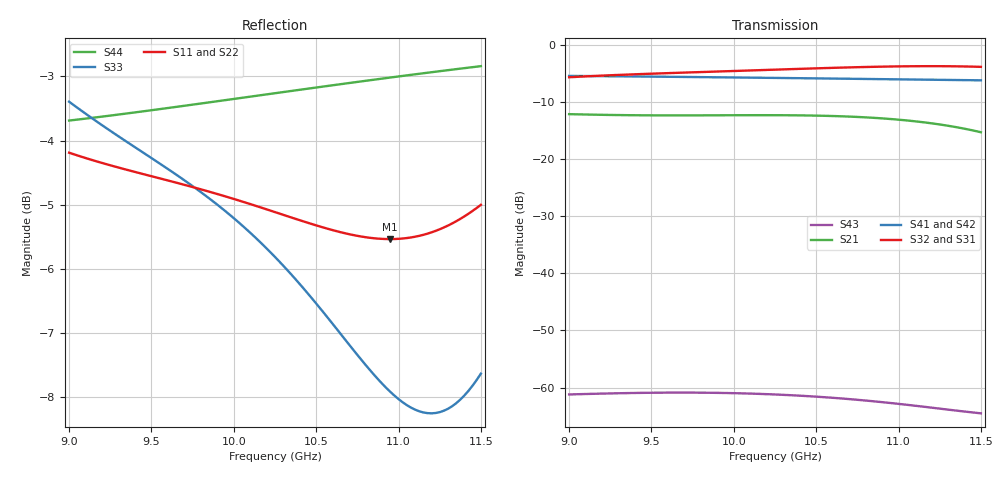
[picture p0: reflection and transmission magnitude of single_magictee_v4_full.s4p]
! Generated from PyAEDT SolutionData; AEDT ExportNetworkData workaround
# GHz S MA R 50
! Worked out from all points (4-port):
!   101 points, 9 GHz to 11.5 GHz, reference 50 ohm
!   strongest paths, dB at 9 GHz, 9.625 GHz, 10.25 GHz, 10.88 GHz, 11.5 GHz:
!     S32: -5.7, -4.9, -4.3, -3.8, -3.8
!     S31: -5.7, -4.9, -4.3, -3.8, -3.8
!     S41: -5.4, -5.6, -5.8, -6.0, -6.2
!     S42: -5.5, -5.6, -5.8, -6.0, -6.2
!     S21: -12.1, -12.3, -12.3, -12.8, -15.3
!     S43: -61.2, -60.9, -61.2, -62.5, -64.5
!   lowest |S11| = -5.5 dB at 10.95 GHz (marker M1), VSWR 3.24, Z = 15.4 + j0.0502 ohm
!   |S11| at or under -10 dB: nowhere
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9  0.6175 31.5  0.2479 -55.9  0.5197 -1.0  0.5359 38.2
   0.2479 -55.9  0.6176 31.2  0.5217 -1.0  0.5338 -141.8
   0.5197 -1.0  0.5217 -1.0  0.6766 168.2  0.0008703 93.5
   0.5359 38.2  0.5338 -141.8  0.0008703 93.5  0.6541 -157.1
9.375  0.5977 -12.9  0.2427 -107.8  0.5501 -67.7  0.5303 -2.9
       0.2427 -107.8  0.5977 -13.3  0.552 -67.7  0.5283 177.1
       0.5501 -67.7  0.552 -67.7  0.6266 80.4  0.0008955 26.7
       0.5303 -2.9  0.5283 177.1  0.0008955 26.7  0.6631 166.0
9.7  0.5829 -50.2  0.2418 -151.2  0.5713 -123.4  0.5248 -37.4
     0.2418 -151.2  0.5829 -50.6  0.573 -123.4  0.5229 142.6
     0.5713 -123.4  0.573 -123.4  0.5876 7.4  0.0009032 -31.8
     0.5248 -37.4  0.5229 142.6  0.0009032 -31.8  0.6717 134.8
10.05  0.5657 -88.9  0.2427 162.8  0.5935 178.2  0.5185 -73.7
       0.2427 162.8  0.5659 -89.3  0.595 178.2  0.5166 106.3
       0.5935 178.2  0.595 178.2  0.542 -69.3  0.0008895 -95.9
       0.5185 -73.7  0.5166 106.3  0.0008895 -95.9  0.6813 102.0
10.5  0.542 -136.3  0.2406 103.7  0.6231 104.3  0.5099 -119.2
      0.2406 103.7  0.5423 -136.6  0.6243 104.2  0.5082 60.8
      0.6231 104.3  0.6243 104.2  0.4712 -168.8  0.0008323 179.6
      0.5099 -119.2  0.5082 60.8  0.0008323 179.6  0.694 60.6
10.95  0.5288 179.9  0.2248 44.6  0.6471 30.1  0.5011 -163.7
       0.2248 44.6  0.5293 179.6  0.6478 30.0  0.4997 16.3
       0.6471 30.1  0.6478 30.0  0.4021 83.5  0.0007327 91.8
       0.5011 -163.7  0.4997 16.3  0.0007327 91.8  0.7066 19.9
11.5  0.5624 128.9  0.1721 -24.9  0.6431 -62.2  0.4904 142.7
      0.1721 -24.9  0.5631 128.8  0.6433 -62.3  0.4894 -37.3
      0.6431 -62.2  0.6433 -62.3  0.4154 -62.8  0.000595 -20.0
      0.4904 142.7  0.4894 -37.3  0.000595 -20.0  0.7211 -29.4
